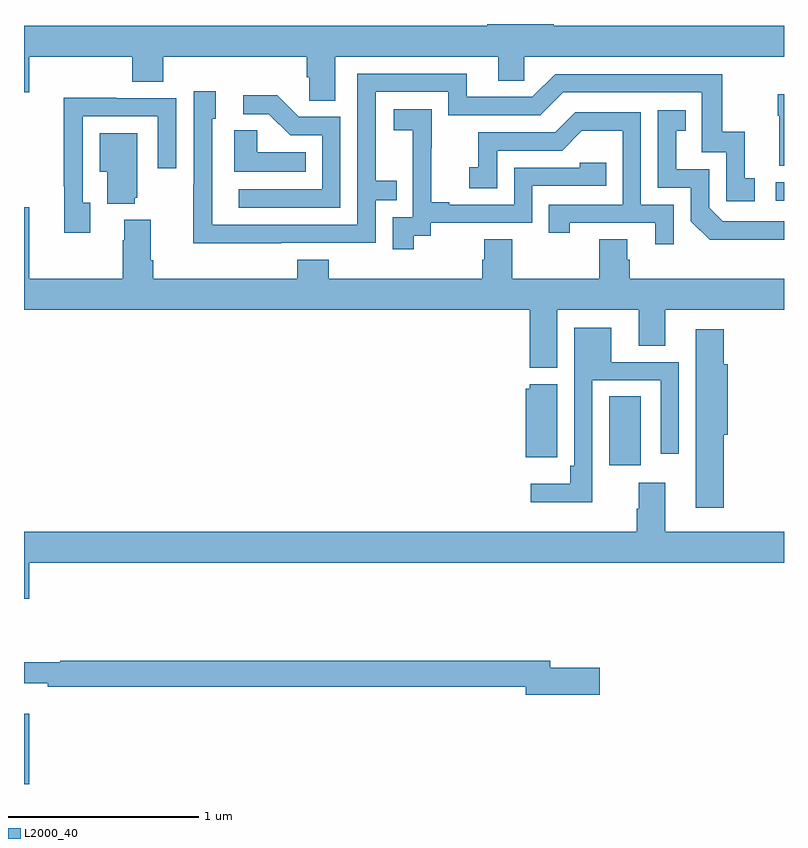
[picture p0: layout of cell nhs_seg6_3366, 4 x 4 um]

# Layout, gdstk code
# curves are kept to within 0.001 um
import gdstk
lib = gdstk.Library(unit=1e-6, precision=1e-09)
def R(c, l, rs):  # rectangles x0, y0, x1, y1
    for r in rs: c.add(gdstk.rectangle(r[:2], r[2:], *l))
def P(c, l, *ps):  # polygons
    for p in ps: c.add(gdstk.Polygon(p, *l))
L2000_40 = (2000, 40)

nhs_seg6_3366 = lib.new_cell('nhs_seg6_3366')
R(nhs_seg6_3366, L2000_40, [(309,951.5,309.028,951.871), (312.08,953.178,312.247,953.54), (312.957,954.57,313,954.666)])
P(nhs_seg6_3366, L2000_40, [(310.639,955.328),(311.495,955.328),(311.495,955.201),(311.634,955.201),(311.634,955.328),(313,955.328),(313,955.492),(311.788,955.492),(311.788,955.5),(311.438,955.5),(311.438,955.492),(309,955.492),(309,955.14),(309.028,955.14),(309.028,955.328),(309.569,955.328),(309.569,955.195),(309.734,955.195),(309.734,955.328),(310.487,955.328),(310.487,955.219),(310.5,955.219),(310.5,955.096),(310.639,955.096)],
  [(310.355,954.348),(310.851,954.348),(310.851,954.573),(310.961,954.573),(310.961,954.674),(310.851,954.674),(310.851,955.143),(311.232,955.143),(311.232,955.02),(311.718,955.02),(311.838,955.14),(312.567,955.14),(312.567,954.825),(312.696,954.825),(312.696,954.567),(312.847,954.567),(312.847,954.687),(312.794,954.687),(312.794,954.934),(312.676,954.934),(312.676,955.236),(311.796,955.236),(311.676,955.116),(311.329,955.116),(311.329,955.239),(310.755,955.239),(310.755,954.444),(309.99,954.444),(309.99,955.002),(310.009,955.002),(310.009,955.147),(309.894,955.147),(309.894,954.653),(309.892,954.653),(309.892,954.347)],
  [(313,955.129),(312.967,955.129),(312.967,955.016),(312.974,955.016),(312.974,954.755),(313,954.755)],
  [(310.665,955.011),(310.446,955.011),(310.333,955.124),(310.155,955.124),(310.155,955.026),(310.289,955.026),(310.4,954.915),(310.569,954.915),(310.569,954.63),(310.131,954.63),(310.131,954.534),(310.665,954.534)],
  [(309.349,954.558),(309.309,954.558),(309.309,955.014),(309.705,955.014),(309.705,954.741),(309.801,954.741),(309.801,955.11),(309.485,955.11),(309.485,955.112),(309.208,955.112),(309.208,954.646),(309.212,954.646),(309.212,954.402),(309.349,954.402)],
  [(311.05,954.385),(311.142,954.385),(311.142,954.453),(311.676,954.453),(311.676,954.648),(312.065,954.648),(312.065,954.771),(311.925,954.771),(311.925,954.744),(311.58,954.744),(311.58,954.549),(311.239,954.549),(311.239,954.562),(311.144,954.562),(311.144,954.845),(311.145,954.845),(311.145,955.051),(310.947,955.051),(310.947,954.941),(311.045,954.941),(311.045,954.713),(311.046,954.713),(311.046,954.483),(310.941,954.483),(310.941,954.315),(311.05,954.315)],
  [(313,954.462),(312.678,954.462),(312.606,954.534),(312.606,954.735),(312.433,954.735),(312.433,954.939),(312.482,954.939),(312.482,955.045),(312.336,955.045),(312.336,954.639),(312.51,954.639),(312.51,954.462),(312.608,954.365),(313,954.365)],
  [(312.42,954.549),(312.246,954.549),(312.246,955.035),(311.9,955.035),(311.795,954.93),(311.392,954.93),(311.392,954.745),(311.343,954.745),(311.343,954.636),(311.49,954.636),(311.49,954.834),(311.832,954.834),(311.936,954.938),(312.15,954.938),(312.15,954.549),(311.761,954.549),(311.761,954.402),(311.872,954.402),(311.872,954.453),(312.323,954.453),(312.323,954.342),(312.42,954.342)],
  [(310.484,954.826),(310.227,954.826),(310.227,954.941),(310.106,954.941),(310.106,954.722),(310.484,954.722)],
  [(309.584,954.585),(309.595,954.585),(309.595,954.925),(309.398,954.925),(309.398,954.722),(309.437,954.722),(309.437,954.554),(309.584,954.554)],
  [(311.806,953.996),(312.236,953.996),(312.236,953.806),(312.376,953.806),(312.376,953.996),(313,953.996),(313,954.16),(312.188,954.16),(312.188,954.258),(312.175,954.258),(312.175,954.368),(312.028,954.368),(312.028,954.16),(311.571,954.16),(311.571,954.368),(311.423,954.368),(311.423,954.258),(311.411,954.258),(311.411,954.16),(310.604,954.16),(310.604,954.259),(310.439,954.259),(310.439,954.16),(309.68,954.16),(309.68,954.256),(309.667,954.256),(309.667,954.469),(309.527,954.469),(309.527,954.362),(309.52,954.362),(309.52,954.16),(309.028,954.16),(309.028,954.535),(309,954.535),(309,953.996),(311.663,953.996),(311.663,953.69),(311.806,953.69)],
  [(311.991,953.625),(312.351,953.625),(312.351,953.238),(312.447,953.238),(312.447,953.721),(312.091,953.721),(312.091,953.902),(311.895,953.902),(311.895,953.176),(311.875,953.176),(311.875,953.08),(311.667,953.08),(311.667,952.982),(311.991,952.982)],
  [(312.683,953.337),(312.704,953.337),(312.704,953.709),(312.683,953.709),(312.683,953.893),(312.536,953.893),(312.536,952.953),(312.683,952.953)],
  [(311.806,953.605),(311.661,953.605),(311.661,953.58),(311.642,953.58),(311.642,953.219),(311.806,953.219)],
  [(309.028,952.664),(313,952.664),(313,952.828),(312.376,952.828),(312.376,953.086),(312.236,953.086),(312.236,952.949),(312.224,952.949),(312.224,952.828),(309,952.828),(309,952.476),(309.028,952.476)],
  [(312.031,952.112),(311.77,952.112),(311.77,952.148),(309.191,952.148),(309.191,952.141),(309,952.141),(309,952.031),(309.124,952.031),(309.124,952.012),(311.642,952.012),(311.642,951.97),(312.031,951.97)])

lib.write_gds('nhs_seg6_3366.gds')
